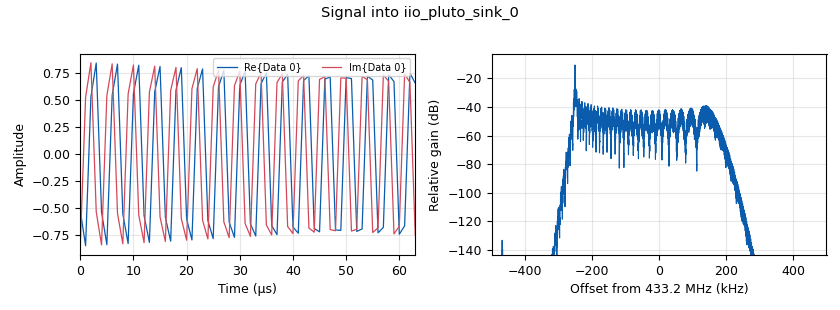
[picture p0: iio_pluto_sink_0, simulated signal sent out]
options:
  parameters:
    author: wangt
    generate_options: qt_gui
    id: sim_gfsk_freqRange
    output_language: python
    title: Not titled yet
  states: {}

blocks:
- name: fc
  id: variable
  parameters:
    value: '433200000'
  states: {}
- name: samp_rate
  id: variable
  parameters:
    value: '1000000'
  states: {}
- name: sensitivity
  id: variable
  parameters:
    value: sensitivity_signal
  states: {}
- name: sensitivity_inf_1
  id: variable
  parameters:
    value: '2.8323'
  states: {}
- name: sensitivity_inf_2
  id: variable
  parameters:
    value: '2.5809'
  states: {}
- name: sensitivity_inf_3
  id: variable
  parameters:
    value: '0.6466'
  states: {}
- name: sensitivity_signal
  id: variable
  parameters:
    value: '1.5756'
  states: {}
- name: signal_bandwidth
  id: variable
  parameters:
    value: '240600'
  states: {}
- name: blocks_char_to_float_0
  id: blocks_char_to_float
  parameters:
    scale: '1'
  states: {}
- name: blocks_stream_to_tagged_stream_0
  id: blocks_stream_to_tagged_stream
  parameters:
    len_tag_key: '"packet_len"'
    packet_len: '9'
    type: byte
  states: {}
- name: blocks_vector_source_x_0
  id: blocks_vector_source_x
  parameters:
    repeat: 'True'
    type: byte
    vector: (0, 0, 1, 1, 0, 1, 0, 1, 0)
  states: {}
- name: digital_gfsk_demod_0
  id: digital_gfsk_demod
  parameters:
    freq_error: '0.0'
    gain_mu: '0.175'
    mu: '0.5'
    omega_relative_limit: '0.005'
    samples_per_symbol: '52'
    sensitivity: sensitivity
  states: {}
- name: digital_gfsk_mod_0
  id: digital_gfsk_mod
  parameters:
    bt: '0.35'
    samples_per_symbol: '52'
    sensitivity: sensitivity
  states: {}
- name: iio_pluto_sink_0
  id: iio_pluto_sink
  parameters:
    attenuation1: '-50.0'
    bandwidth: signal_bandwidth
    buffer_size: '32768'
    cyclic: 'True'
    filter_source: '''Auto'''
    frequency: fc
    samplerate: samp_rate
    type: fc32
    uri: 192.168.3.1
  states: {}
- name: iio_pluto_source_0
  id: iio_pluto_source
  parameters:
    bandwidth: signal_bandwidth
    bbdc: 'True'
    buffer_size: '32768'
    filter_source: '''Auto'''
    frequency: fc
    gain1: '''slow_attack'''
    quadrature: 'True'
    rfdc: 'True'
    samplerate: samp_rate
    type: fc32
    uri: 192.168.3.1
  states: {}
- name: qtgui_freq_sink_x_0
  id: qtgui_freq_sink_x
  parameters:
    bw: samp_rate
    fc: '0'
    fftsize: '1024'
    type: complex
    ymax: '40'
    ymin: '-200'
  states: {}
- name: qtgui_time_sink_x_0
  id: qtgui_time_sink_x
  parameters:
    size: '1024'
    srate: samp_rate
    type: float
  states: {}

connections:
- [blocks_char_to_float_0, '0', qtgui_time_sink_x_0, '0']
- [blocks_stream_to_tagged_stream_0, '0', digital_gfsk_mod_0, '0']
- [blocks_vector_source_x_0, '0', blocks_stream_to_tagged_stream_0, '0']
- [digital_gfsk_demod_0, '0', blocks_char_to_float_0, '0']
- [digital_gfsk_mod_0, '0', iio_pluto_sink_0, '0']
- [iio_pluto_source_0, '0', digital_gfsk_demod_0, '0']
- [iio_pluto_source_0, '0', qtgui_freq_sink_x_0, '0']

metadata:
  file_format: 1
  grc_version: 3.10.12.0
